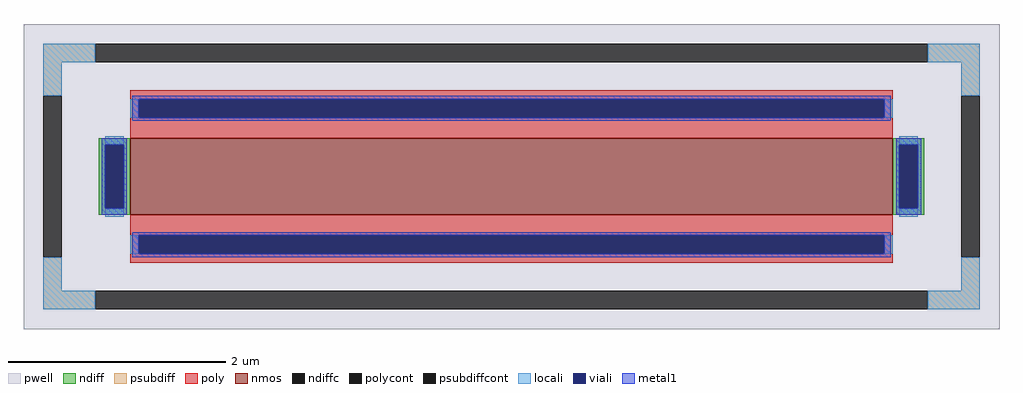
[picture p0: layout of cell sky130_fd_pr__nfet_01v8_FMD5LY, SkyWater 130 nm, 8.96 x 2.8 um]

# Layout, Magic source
magic
tech sky130A
<< pwell >>
rect -448 -140 448 140
<< nmos >>
rect -350 -35 350 35
<< ndiff >>
rect -379 29 -350 35
rect -379 -29 -373 29
rect -356 -29 -350 29
rect -379 -35 -350 -29
rect 350 29 379 35
rect 350 -29 356 29
rect 373 -29 379 29
rect 350 -35 379 -29
<< ndiffc >>
rect -373 -29 -356 29
rect 356 -29 373 29
<< psubdiff >>
rect -430 105 -382 122
rect 382 105 430 122
rect -430 74 -413 105
rect 413 74 430 105
rect -430 -105 -413 -74
rect 413 -105 430 -74
rect -430 -122 -382 -105
rect 382 -122 430 -105
<< psubdiffcont >>
rect -382 105 382 122
rect -430 -74 -413 74
rect 413 -74 430 74
rect -382 -122 382 -105
<< poly >>
rect -350 71 350 79
rect -350 54 -342 71
rect 342 54 350 71
rect -350 35 350 54
rect -350 -54 350 -35
rect -350 -71 -342 -54
rect 342 -71 350 -54
rect -350 -79 350 -71
<< polycont >>
rect -342 54 342 71
rect -342 -71 342 -54
<< locali >>
rect -430 105 -382 122
rect 382 105 430 122
rect -430 74 -413 105
rect 413 74 430 105
rect -350 54 -342 71
rect 342 54 350 71
rect -373 29 -356 37
rect -373 -37 -356 -29
rect 356 29 373 37
rect 356 -37 373 -29
rect -350 -71 -342 -54
rect 342 -71 350 -54
rect -430 -105 -413 -74
rect 413 -105 430 -74
rect -430 -122 -382 -105
rect 382 -122 430 -105
<< viali >>
rect -342 54 342 71
rect -373 -29 -356 29
rect 356 -29 373 29
rect -342 -71 342 -54
<< metal1 >>
rect -348 71 348 74
rect -348 54 -342 71
rect 342 54 348 71
rect -348 51 348 54
rect -376 29 -353 35
rect -376 -29 -373 29
rect -356 -29 -353 29
rect -376 -35 -353 -29
rect 353 29 376 35
rect 353 -29 356 29
rect 373 -29 376 29
rect 353 -35 376 -29
rect -348 -54 348 -51
rect -348 -71 -342 -54
rect 342 -71 348 -54
rect -348 -74 348 -71
<< properties >>
string FIXED_BBOX -421 -113 421 113
string gencell sky130_fd_pr__nfet_01v8
string library sky130
string parameters w 0.7 l 7.0 m 1 nf 1 diffcov 100 polycov 100 guard 1 glc 1 grc 1 gtc 1 gbc 1 tbcov 100 rlcov 100 topc 1 botc 1 poverlap 0 doverlap 1 lmin 0.15 wmin 0.42 compatible {sky130_fd_pr__nfet_01v8 sky130_fd_pr__nfet_01v8_lvt  sky130_fd_bs_flash__special_sonosfet_star  sky130_fd_pr__nfet_g5v0d10v5 sky130_fd_pr__nfet_05v0_nvt  sky130_fd_pr__nfet_03v3_nvt} full_metal 1 viasrc 100 viadrn 100 viagate 100 viagb 0 viagr 0 viagl 0 viagt 0
<< end >>
